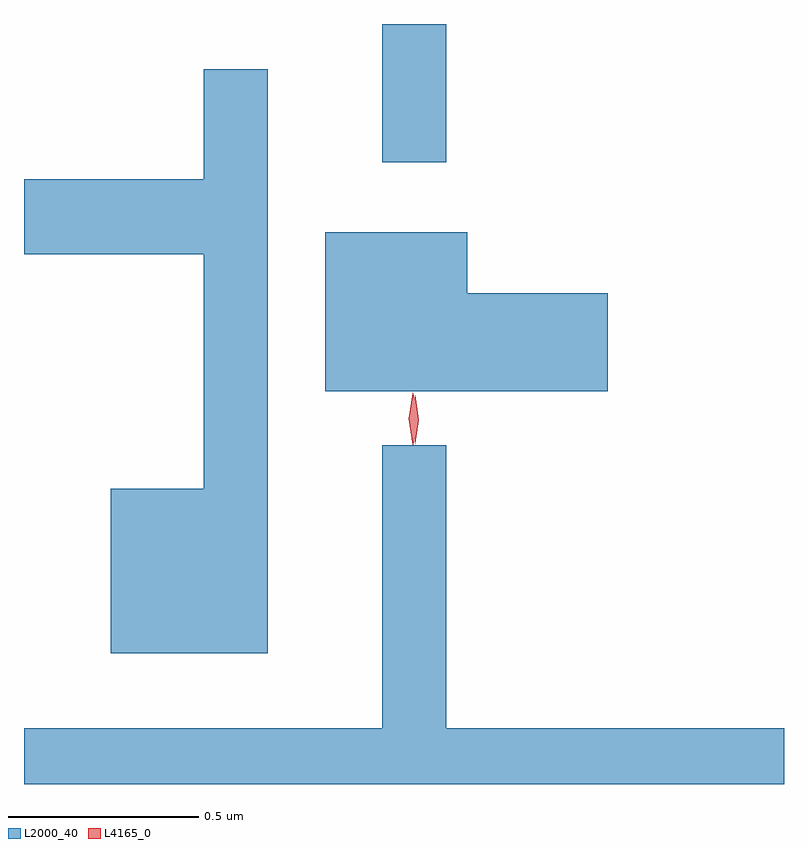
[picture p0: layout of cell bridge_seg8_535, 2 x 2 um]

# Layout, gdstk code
import gdstk
lib = gdstk.Library(unit=1e-6, precision=1e-09)
def R(c, l, rs):  # rectangles x0, y0, x1, y1
    for r in rs: c.add(gdstk.rectangle(r[:2], r[2:], *l))
def P(c, l, *ps):  # polygons
    for p in ps: c.add(gdstk.Polygon(p, *l))
L2000_40 = (2000, 40)
L4165_0 = (4165, 0)

bridge_seg8_535 = lib.new_cell('bridge_seg8_535')
R(bridge_seg8_535, L2000_40, [(257.081,1840.393,257.249,1840.757)])
P(bridge_seg8_535, L2000_40, [(256.779,1840.638),(256.611,1840.638),(256.611,1840.349),(256.138,1840.349),(256.138,1840.151),(256.611,1840.151),(256.611,1839.534),(256.366,1839.534),(256.366,1839.101),(256.779,1839.101)],
  [(257.674,1840.049),(257.304,1840.049),(257.304,1840.209),(256.931,1840.209),(256.931,1839.791),(257.674,1839.791)],
  [(258.138,1838.904),(257.249,1838.904),(257.249,1839.648),(257.081,1839.648),(257.081,1838.904),(256.138,1838.904),(256.138,1838.757),(258.138,1838.757)])
P(bridge_seg8_535, L4165_0, [(257.167,1839.653),(257.167,1839.654),(257.157,1839.716),(257.167,1839.78),(257.167,1839.78),(257.168,1839.78),(257.177,1839.716),(257.168,1839.654)],
  [(257.161,1839.65),(257.151,1839.718),(257.161,1839.785),(257.161,1839.786),(257.162,1839.785),(257.171,1839.718),(257.162,1839.65),(257.162,1839.65)])

lib.write_gds('bridge_seg8_535.gds')
